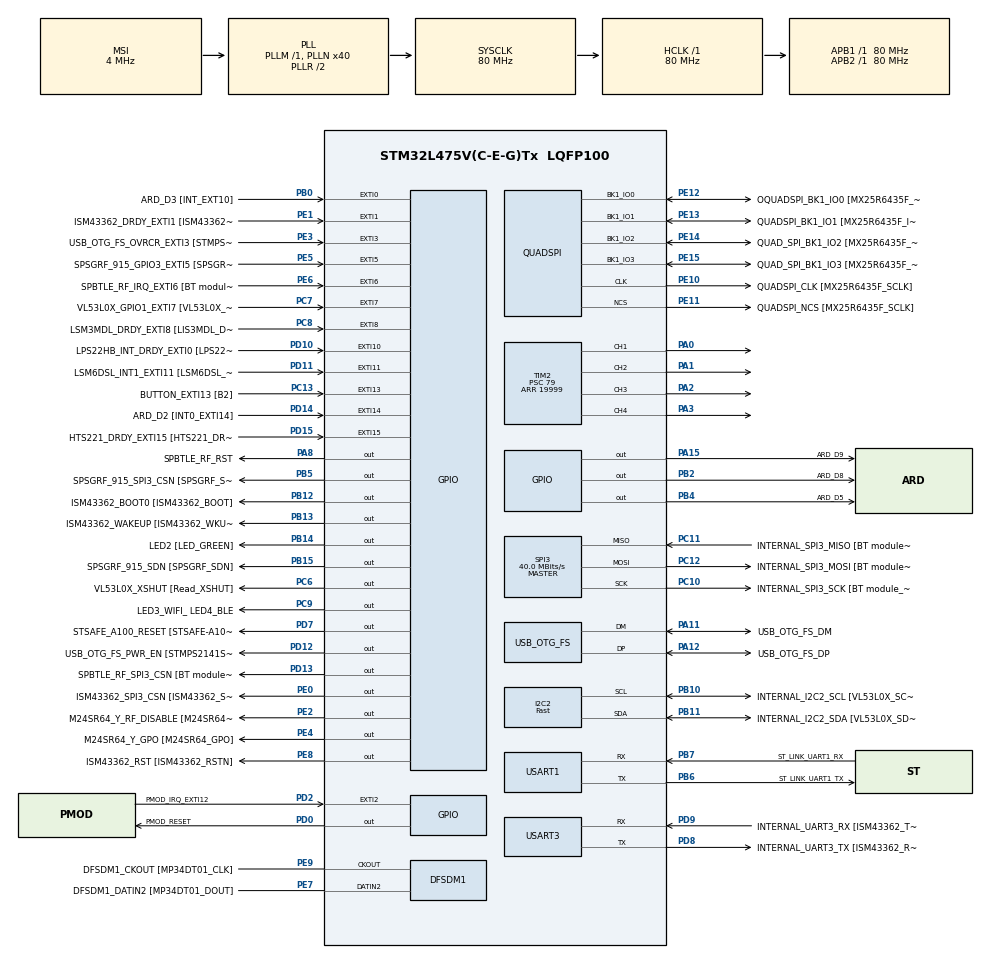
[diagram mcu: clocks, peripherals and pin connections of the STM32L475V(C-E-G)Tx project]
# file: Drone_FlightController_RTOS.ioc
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Dma.I2C2_RX.0.Direction=DMA_PERIPH_TO_MEMORY
Dma.I2C2_RX.0.Instance=DMA1_Channel5
Dma.I2C2_RX.0.MemDataAlignment=DMA_MDATAALIGN_BYTE
Dma.I2C2_RX.0.MemInc=DMA_MINC_ENABLE
Dma.I2C2_RX.0.Mode=DMA_CIRCULAR
Dma.I2C2_RX.0.PeriphDataAlignment=DMA_PDATAALIGN_BYTE
Dma.I2C2_RX.0.PeriphInc=DMA_PINC_DISABLE
Dma.I2C2_RX.0.Priority=DMA_PRIORITY_HIGH
Dma.I2C2_TX.1.Direction=DMA_MEMORY_TO_PERIPH
Dma.I2C2_TX.1.Instance=DMA1_Channel4
Dma.I2C2_TX.1.MemDataAlignment=DMA_MDATAALIGN_BYTE
Dma.I2C2_TX.1.MemInc=DMA_MINC_ENABLE
Dma.I2C2_TX.1.Mode=DMA_NORMAL
Dma.I2C2_TX.1.PeriphDataAlignment=DMA_PDATAALIGN_BYTE
Dma.I2C2_TX.1.PeriphInc=DMA_PINC_DISABLE
Dma.I2C2_TX.1.Priority=DMA_PRIORITY_LOW
Dma.Request0=I2C2_RX
Dma.Request1=I2C2_TX
Dma.Request2=USART1_TX
Dma.USART1_TX.2.Direction=DMA_MEMORY_TO_PERIPH
Dma.USART1_TX.2.Instance=DMA2_Channel6
Dma.USART1_TX.2.MemDataAlignment=DMA_MDATAALIGN_BYTE
Dma.USART1_TX.2.MemInc=DMA_MINC_ENABLE
Dma.USART1_TX.2.Mode=DMA_NORMAL
Dma.USART1_TX.2.PeriphDataAlignment=DMA_PDATAALIGN_BYTE
Dma.USART1_TX.2.PeriphInc=DMA_PINC_DISABLE
Dma.USART1_TX.2.Priority=DMA_PRIORITY_LOW
FREERTOS.Queues01=IMU_Data_Queue,5,IMU_Data_t,0,Dynamic,NULL,NULL;Control_Cmd_Queue,3,Control_Cmd_t,0,Dynamic,NULL,NULL;Baro_Data_Queue,5,Baro_Data_t,0,Dynamic,NULL,NULL
FREERTOS.Tasks01=IMU_Task,40,512,StartIMUTask,Default,NULL,Dynamic,NULL,NULL;Cmd_Task,8,256,StartCmdTask,Default,NULL,Dynamic,NULL,NULL;Telem_Task,16,256,StartTelemTask,Default,NULL,Dynamic,NULL,NULL;BaroTask,8,256,StartBaroTask,Default,NULL,Dynamic,NULL,NULL
FREERTOS.configTOTAL_HEAP_SIZE=20480
I2C2.I2C_Speed_Mode=I2C_Fast
I2C2.Timing=0x00702991
Mcu.Family=STM32L4
Mcu.Name=STM32L475V(C-E-G)Tx
Mcu.Package=LQFP100
NVIC.DMA1_Channel4_IRQn=true\:5\:0\:false\:false\:true\:true\:false\:true\:true
NVIC.DMA1_Channel5_IRQn=true\:5\:0\:false\:false\:true\:true\:false\:true\:true
NVIC.DMA2_Channel6_IRQn=true\:5\:0\:false\:false\:true\:true\:false\:true\:true
NVIC.EXTI15_10_IRQn=true\:5\:0\:false\:false\:true\:true\:true\:true\:true
NVIC.EXTI9_5_IRQn=true\:5\:0\:false\:false\:true\:true\:true\:true\:true
NVIC.I2C2_ER_IRQn=true\:5\:0\:false\:false\:true\:true\:true\:true\:true
NVIC.I2C2_EV_IRQn=true\:5\:0\:false\:false\:true\:true\:true\:true\:true
NVIC.PriorityGroup=NVIC_PRIORITYGROUP_4
NVIC.TIM6_DAC_IRQn=true\:15\:0\:false\:false\:true\:false\:false\:true\:true
NVIC.TimeBase=TIM6_DAC_IRQn
NVIC.TimeBaseIP=TIM6
PA0.Signal=S_TIM2_CH1
PA1.Signal=S_TIM2_CH2
PA10.GPIO_Label=USB_OTG_FS_ID
PA10.Signal=USB_OTG_FS_ID
PA11.GPIO_Label=USB_OTG_FS_DM
PA11.Mode=Device_Only
PA11.Signal=USB_OTG_FS_DM
PA12.GPIO_Label=USB_OTG_FS_DP
PA12.Mode=Device_Only
PA12.Signal=USB_OTG_FS_DP
PA13\ (JTMS-SWDIO).GPIO_Label=SYS_JTMS_SWDIO
PA13\ (JTMS-SWDIO).Mode=Serial_Wire
PA13\ (JTMS-SWDIO).Signal=SYS_JTMS-SWDIO
PA14\ (JTCK-SWCLK).GPIO_Label=SYS_JTCK_SWCLK
PA14\ (JTCK-SWCLK).Mode=Serial_Wire
PA14\ (JTCK-SWCLK).Signal=SYS_JTCK-SWCLK
PA15\ (JTDI).GPIO_Label=ARD_D9
PA15\ (JTDI).Signal=GPIO_Output
PA2.Signal=S_TIM2_CH3
PA3.Signal=S_TIM2_CH4
PA4.GPIO_Label=ARD_D7
PA4.Signal=ADCx_IN9
PA5.GPIO_Label=ARD_D13 [SPI1_SCK]
PA5.Signal=SPI1_SCK
PA6.GPIO_Label=ARD_D12 [SPI1_MISO]
PA6.Signal=SPI1_MISO
PA7.GPIO_Label=ARD_D11 [SPI1_MOSI]
PA7.Signal=SPI1_MOSI
PA8.GPIO_Label=SPBTLE_RF_RST
PA8.Signal=GPIO_Output
PA9.GPIO_Label=USB_OTG_FS_VBUS [STMPS2141STR_OUT]
PA9.Signal=USB_OTG_FS_VBUS
PB0.GPIO_Label=ARD_D3 [INT_EXT10]
PB0.Signal=GPXTI0
PB1.GPIO_Label=ARD_D6 [ADC1_IN6]
PB1.Signal=ADCx_IN16
PB10.GPIO_Label=INTERNAL_I2C2_SCL [VL53L0X_SCL]
PB10.GPIO_Pu=GPIO_PULLUP
PB10.Mode=I2C
PB10.Signal=I2C2_SCL
PB11.GPIO_Label=INTERNAL_I2C2_SDA [VL53L0X_SDA]
PB11.GPIO_Pu=GPIO_PULLUP
PB11.Mode=I2C
PB11.Signal=I2C2_SDA
PB12.GPIO_Label=ISM43362_BOOT0 [ISM43362_BOOT]
PB12.Signal=GPIO_Output
PB13.GPIO_Label=ISM43362_WAKEUP [ISM43362_WKUP]
PB13.Signal=GPIO_Output
PB14.GPIO_Label=LED2 [LED_GREEN]
PB14.Signal=GPIO_Output
PB15.GPIO_Label=SPSGRF_915_SDN [SPSGRF_SDN]
PB15.Signal=GPIO_Output
PB2.GPIO_Label=ARD_D8
PB2.Signal=GPIO_Output
PB3\ (JTDO-TRACESWO).GPIO_Label=SYS_JTD0_SWO
PB3\ (JTDO-TRACESWO).Signal=SYS_JTDO-SWO
PB4\ (NJTRST).GPIO_Label=ARD_D5
PB4\ (NJTRST).Signal=GPIO_Output
PB5.GPIO_Label=SPSGRF_915_SPI3_CSN [SPSGRF_SPI_CS]
PB5.PinState=GPIO_PIN_SET
PB5.Signal=GPIO_Output
PB6.GPIO_Label=ST_LINK_UART1_TX
PB6.Mode=Asynchronous
PB6.Signal=USART1_TX
PB7.GPIO_Label=ST_LINK_UART1_RX
PB7.Mode=Asynchronous
PB7.Signal=USART1_RX
PB8.GPIO_Label=ARD_D15 [I2C1_SCL]
PB8.Signal=I2C1_SCL
PB9.GPIO_Label=ARD_D14 [I2C1_SDA]
PB9.Signal=I2C1_SDA
PC0.GPIO_Label=ARD_A5 [ADC]
PC0.Signal=ADCx_IN1
PC1.GPIO_Label=ARD_A4 [ADC]
PC1.Signal=ADCx_IN2
PC10.GPIO_Label=INTERNAL_SPI3_SCK [BT module_SPI_SCLK] [ISM43362_SCK]
PC10.Mode=Full_Duplex_Master
PC10.Signal=SPI3_SCK
PC11.GPIO_Label=INTERNAL_SPI3_MISO [BT module_SPI_MISO] [ISM43362_MISO]
PC11.Mode=Full_Duplex_Master
PC11.Signal=SPI3_MISO
PC12.GPIO_Label=INTERNAL_SPI3_MOSI [BT module_SPI_MOSI] [ISM43362_MOSI]
PC12.Mode=Full_Duplex_Master
PC12.Signal=SPI3_MOSI
PC13.GPIO_Label=BUTTON_EXTI13 [B2]
PC13.GPIO_ModeDefaultEXTI=GPIO_MODE_IT_FALLING
PC13.Signal=GPXTI13
PC14-OSC32_IN\ (PC14).Mode=LSE-External-Oscillator
PC14-OSC32_IN\ (PC14).Signal=RCC_OSC32_IN
PC15-OSC32_OUT\ (PC15).Mode=LSE-External-Oscillator
PC15-OSC32_OUT\ (PC15).Signal=RCC_OSC32_OUT
PC2.GPIO_Label=ARD_A3 [ADC]
PC2.Signal=ADCx_IN3
PC3.GPIO_Label=ARD_A2 [ADC]
PC3.Signal=ADCx_IN4
PC4.GPIO_Label=ARD_A1 [ADC]
PC4.Signal=ADCx_IN13
PC5.GPIO_Label=ARD_A0 [ADC]
PC5.Signal=ADCx_IN14
PC6.GPIO_Label=VL53L0X_XSHUT [Read_XSHUT]
PC6.Signal=GPIO_Output
PC7.GPIO_Label=VL53L0X_GPIO1_EXTI7 [VL53L0X_GPIO1]
PC7.Signal=GPXTI7
PC8.GPIO_Label=LSM3MDL_DRDY_EXTI8 [LIS3MDL_DRDY]
PC8.Signal=GPXTI8
PC9.GPIO_Label=LED3_WIFI_ LED4_BLE
PC9.Signal=GPIO_Output
PD0.GPIO_Label=PMOD_RESET
PD0.Signal=GPIO_Output
PD1.GPIO_Label=PMOD_SPI2_SCK
PD1.Signal=SPI2_SCK
PD10.GPIO_Label=LPS22HB_INT_DRDY_EXTI0 [LPS22HB_INT_DRDY] 
PD10.Signal=GPXTI10
PD11.GPIO_Label=LSM6DSL_INT1_EXTI11 [LSM6DSL_INT1]
PD11.Signal=GPXTI11
PD12.GPIO_Label=USB_OTG_FS_PWR_EN [STMPS2141STR_EN]
PD12.Signal=GPIO_Output
PD13.GPIO_Label=SPBTLE_RF_SPI3_CSN [BT module_SPI_CS]
PD13.PinState=GPIO_PIN_SET
PD13.Signal=GPIO_Output
PD14.GPIO_Label=ARD_D2 [INT0_EXTI14]
PD14.Signal=GPXTI14
PD15.GPIO_Label=HTS221_DRDY_EXTI15 [HTS221_DRDY]
PD15.Signal=GPXTI15
PD2.GPIO_Label=PMOD_IRQ_EXTI12
PD2.Signal=GPXTI2
PD3.GPIO_Label=PMOD_UART2_CTS
PD3.Signal=USART2_CTS
PD4.GPIO_Label=PMOD_UART2_RTS
PD4.Signal=USART2_RTS
PD5.GPIO_Label=PMOD_UART2_TX
PD5.Signal=USART2_TX
PD6.GPIO_Label=PMOD_UART2_RX
PD6.Signal=USART2_RX
PD7.GPIO_Label=STSAFE_A100_RESET [STSAFE-A100_RESET]
PD7.Signal=GPIO_Output
PD8.GPIO_Label=INTERNAL_UART3_TX [ISM43362_RX]
PD8.Mode=Asynchronous
PD8.Signal=USART3_TX
PD9.GPIO_Label=INTERNAL_UART3_RX [ISM43362_TX]
PD9.Mode=Asynchronous
PD9.Signal=USART3_RX
PE0.GPIO_Label=ISM43362_SPI3_CSN [ISM43362_SSN]
PE0.PinState=GPIO_PIN_SET
PE0.Signal=GPIO_Output
PE1.GPIO_Label=ISM43362_DRDY_EXTI1 [ISM43362_DATARDY]
PE1.Signal=GPXTI1
PE10.GPIO_Label=QUADSPI_CLK [MX25R6435F_SCLK]
PE10.Mode=Single Bank
PE10.Signal=QUADSPI_CLK
PE11.GPIO_Label=QUADSPI_NCS [MX25R6435F_SCLK]
PE11.Mode=Single Bank
PE11.Signal=QUADSPI_NCS
PE12.GPIO_Label=OQUADSPI_BK1_IO0 [MX25R6435F_IO0]
PE12.Mode=Single Bank
PE12.Signal=QUADSPI_BK1_IO0
PE13.GPIO_Label=QUADSPI_BK1_IO1 [MX25R6435F_IO1]
PE13.Mode=Single Bank
PE13.Signal=QUADSPI_BK1_IO1
PE14.GPIO_Label=QUAD_SPI_BK1_IO2 [MX25R6435F_IO2]
PE14.Mode=Single Bank
PE14.Signal=QUADSPI_BK1_IO2
PE15.GPIO_Label=QUAD_SPI_BK1_IO3 [MX25R6435F_IO3]
PE15.Mode=Single Bank
PE15.Signal=QUADSPI_BK1_IO3
PE2.GPIO_Label=M24SR64_Y_RF_DISABLE [M24SR64_RFDIS]
PE2.Signal=GPIO_Output
PE3.GPIO_Label=USB_OTG_FS_OVRCR_EXTI3 [STMPS2141STR_FAULT]
PE3.Signal=GPXTI3
PE4.GPIO_Label=M24SR64_Y_GPO [M24SR64_GPO]
PE4.Signal=GPIO_Output
PE5.GPIO_Label=SPSGRF_915_GPIO3_EXTI5 [SPSGRF_GPIO_3]
PE5.Signal=GPXTI5
PE6.GPIO_Label=SPBTLE_RF_IRQ_EXTI6 [BT module_SPI_IRQ]
PE6.Signal=GPXTI6
PE7.GPIO_Label=DFSDM1_DATIN2 [MP34DT01_DOUT]
PE7.Signal=S_DATAIN2DFSDM1
PE8.GPIO_Label=ISM43362_RST [ISM43362_RSTN]
PE8.Signal=GPIO_Output
PE9.GPIO_Label=DFSDM1_CKOUT [MP34DT01_CLK]
PE9.Signal=S_CKOUTDFSDM1
ProjectManager.HeapSize=0x200
ProjectManager.StackSize=0x400
ProjectManager.TargetToolchain=STM32CubeIDE
QUADSPI.ClockPrescaler=2
QUADSPI.FifoThreshold=4
QUADSPI.FlashSize=23
QUADSPI.SampleShifting=QSPI_SAMPLE_SHIFTING_HALFCYCLE
RCC.ADCFreq_Value=48000000
RCC.AHBFreq_Value=80000000
RCC.APB1Freq_Value=80000000
RCC.APB1TimFreq_Value=80000000
RCC.APB2Freq_Value=80000000
RCC.APB2TimFreq_Value=80000000
RCC.CortexFreq_Value=80000000
RCC.HCLKFreq_Value=80000000
RCC.HSE_VALUE=8000000
RCC.HSI_VALUE=16000000
RCC.MSI_VALUE=4000000
RCC.PLLN=40
RCC.PLLSAI1N=24
RCC.SYSCLKFreq_VALUE=80000000
RCC.SYSCLKSource=RCC_SYSCLKSOURCE_PLLCLK
RCC.USBFreq_Value=48000000
RCC.VCOOutputFreq_Value=160000000
SH.ADCx_IN1.0=ADC1_IN1
SH.ADCx_IN13.0=ADC1_IN13
SH.ADCx_IN14.0=ADC1_IN14
SH.ADCx_IN16.0=ADC1_IN16
SH.ADCx_IN2.0=ADC1_IN2
SH.ADCx_IN3.0=ADC1_IN3
SH.ADCx_IN4.0=ADC1_IN4
SH.ADCx_IN9.0=ADC1_IN9
SH.S_CKOUTDFSDM1.0=DFSDM1_CKOUT,CKOUT
SH.S_CKOUTDFSDM1.1=DFSDM1_CKOUT,PDM_SPI_Input_from_ch12_and_Internal_Clock
SH.S_DATAIN2DFSDM1.0=DFSDM1_DATIN2,PDM_SPI_Input_from_ch12_and_Internal_Clock
SH.S_TIM2_CH1.0=TIM2_CH1,PWM Generation1 CH1
SH.S_TIM2_CH2.0=TIM2_CH2,PWM Generation2 CH2
SH.S_TIM2_CH3.0=TIM2_CH3,PWM Generation3 CH3
SH.S_TIM2_CH4.0=TIM2_CH4,PWM Generation4 CH4
SPI3.CalculateBaudRate=40.0 MBits/s
SPI3.Direction=SPI_DIRECTION_2LINES
SPI3.Mode=SPI_MODE_MASTER
SPI3.VirtualType=VM_MASTER
TIM2.AutoReloadPreload=TIM_AUTORELOAD_PRELOAD_ENABLE
TIM2.Channel-PWM\ Generation1\ CH1=TIM_CHANNEL_1
TIM2.Channel-PWM\ Generation2\ CH2=TIM_CHANNEL_2
TIM2.Channel-PWM\ Generation3\ CH3=TIM_CHANNEL_3
TIM2.Channel-PWM\ Generation4\ CH4=TIM_CHANNEL_4
TIM2.Period=19999
TIM2.Prescaler=79
USART1.VirtualMode-Asynchronous=VM_ASYNC
USART3.VirtualMode-Asynchronous=VM_ASYNC
USB_OTG_FS.VirtualMode=Device_Only
VP_FREERTOS_VS_CMSIS_V2.Mode=CMSIS_V2
VP_SYS_VS_tim6.Mode=TIM6
VP_TIM2_VS_ClockSourceINT.Mode=Internal
board=B-L475E-IOT01A2

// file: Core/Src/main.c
/* USER CODE BEGIN Header */
/**
  ******************************************************************************
  * @file           : main.c
  * @brief          : Main program body
  ******************************************************************************
  * @attention
  *
  * Copyright (c) 2026 STMicroelectronics.
  * All rights reserved.
  *
  * This software is licensed under terms that can be found in the LICENSE file
  * in the root directory of this software component.
  * If no LICENSE file comes with this software, it is provided AS-IS.
  *
  ******************************************************************************
  */
/* USER CODE END Header */
#include "main.h"
#include "cmsis_os.h"

/* USER CODE BEGIN Includes */
#include "imu_service.h"
#include "baro_service.h"
#include "motor_mixer.h"
#include "pid_controller.h"
/* USER CODE END Includes */

DFSDM_Channel_HandleTypeDef hdfsdm1_channel1;

I2C_HandleTypeDef hi2c2;
DMA_HandleTypeDef hdma_i2c2_rx;
DMA_HandleTypeDef hdma_i2c2_tx;

QSPI_HandleTypeDef hqspi;

SPI_HandleTypeDef hspi3;

TIM_HandleTypeDef htim2;

UART_HandleTypeDef huart1;
UART_HandleTypeDef huart3;
DMA_HandleTypeDef hdma_usart1_tx;

PCD_HandleTypeDef hpcd_USB_OTG_FS;

/* Definitions for IMU_Task */
osThreadId_t IMU_TaskHandle;
const osThreadAttr_t IMU_Task_attributes = {
  .name = "IMU_Task",
  .stack_size = 512 * 4,
  .priority = (osPriority_t) osPriorityHigh,
};
/* Definitions for Cmd_Task */
osThreadId_t Cmd_TaskHandle;
const osThreadAttr_t Cmd_Task_attributes = {
  .name = "Cmd_Task",
  .stack_size = 256 * 4,
  .priority = (osPriority_t) osPriorityLow,
};
/* Definitions for Telem_Task */
osThreadId_t Telem_TaskHandle;
const osThreadAttr_t Telem_Task_attributes = {
  .name = "Telem_Task",
  .stack_size = 256 * 4,
  .priority = (osPriority_t) osPriorityBelowNormal,
};
/* Definitions for BaroTask */
osThreadId_t BaroTaskHandle;
const osThreadAttr_t BaroTask_attributes = {
  .name = "BaroTask",
  .stack_size = 256 * 4,
  .priority = (osPriority_t) osPriorityLow,
};
/* Definitions for IMU_Data_Queue */
osMessageQueueId_t IMU_Data_QueueHandle;
const osMessageQueueAttr_t IMU_Data_Queue_attributes = {
  .name = "IMU_Data_Queue"
};
/* Definitions for Control_Cmd_Queue */
osMessageQueueId_t Control_Cmd_QueueHandle;
const osMessageQueueAttr_t Control_Cmd_Queue_attributes = {
  .name = "Control_Cmd_Queue"
};
/* Definitions for Baro_Data_Queue */
osMessageQueueId_t Baro_Data_QueueHandle;
const osMessageQueueAttr_t Baro_Data_Queue_attributes = {
  .name = "Baro_Data_Queue"
};
/* USER CODE BEGIN PV */
IMU_Data_t flight_data;
Baro_Data_t baro_data;

// Instancias de los PID
PID_Instance_t pid_pitch;
PID_Instance_t pid_roll;

// Variables de control (los nombres que acordamos)
float pitch_output = 0.0f;
float roll_output = 0.0f;
float yaw_output = 0.0f;     // Por ahora en 0
float throttle_cmd = 1150.0f; // Potencia base de prueba
/* USER CODE END PV */

void SystemClock_Config(void);
static void MX_GPIO_Init(void);
static void MX_DMA_Init(void);
static void MX_DFSDM1_Init(void);
static void MX_I2C2_Init(void);
static void MX_QUADSPI_Init(void);
static void MX_SPI3_Init(void);
static void MX_USART1_UART_Init(void);
static void MX_USART3_UART_Init(void);
static void MX_USB_OTG_FS_PCD_Init(void);
static void MX_TIM2_Init(void);
void StartIMUTask(void *argument);
void StartCmdTask(void *argument);
void StartTelemTask(void *argument);
void StartBaroTask(void *argument);

int main(void)
{

  /* MCU Configuration--------------------------------------------------------*/

  /* Reset of all peripherals, Initializes the Flash interface and the Systick. */
  HAL_Init();

  /* Configure the system clock */
  SystemClock_Config();

  /* Initialize all configured peripherals */
  MX_GPIO_Init();
  MX_DMA_Init();
  MX_DFSDM1_Init();
  MX_I2C2_Init();
  MX_QUADSPI_Init();
  MX_SPI3_Init();
  MX_USART1_UART_Init();
  MX_USART3_UART_Init();
  MX_USB_OTG_FS_PCD_Init();
  MX_TIM2_Init();
  /* USER CODE BEGIN 2 */
  // 1. Iniciar Sensores
  IMU_Init_Service(&hi2c2);
  // Baro
  Baro_Init(&hi2c2);

  // 2. Iniciar PID (P, I, D, Salida_Min, Salida_Max)
  PID_Init(&pid_pitch, 1.5f, 0.05f, 0.1f, -400.0f, 400.0f);
  PID_Init(&pid_roll,  1.5f, 0.05f, 0.1f, -400.0f, 400.0f);

  // 3. Iniciar Motores
  Mixer_Init(&htim2);
  HAL_TIM_PWM_Start(&htim2, TIM_CHANNEL_1);
  HAL_TIM_PWM_Start(&htim2, TIM_CHANNEL_2);
  HAL_TIM_PWM_Start(&htim2, TIM_CHANNEL_3);
  HAL_TIM_PWM_Start(&htim2, TIM_CHANNEL_4);
  /* USER CODE END 2 */

  /* Init scheduler */
  osKernelInitialize();

  /* Create the queue(s) */
  /* creation of IMU_Data_Queue */
  IMU_Data_QueueHandle = osMessageQueueNew (5, sizeof(IMU_Data_t), &IMU_Data_Queue_attributes);

  /* creation of Control_Cmd_Queue */
  Control_Cmd_QueueHandle = osMessageQueueNew (3, sizeof(Control_Cmd_t), &Control_Cmd_Queue_attributes);

  /* creation of Baro_Data_Queue */
  Baro_Data_QueueHandle = osMessageQueueNew (5, sizeof(Baro_Data_t), &Baro_Data_Queue_attributes);

  /* Create the thread(s) */
  /* creation of IMU_Task */
  IMU_TaskHandle = osThreadNew(StartIMUTask, NULL, &IMU_Task_attributes);

  /* creation of Cmd_Task */
  Cmd_TaskHandle = osThreadNew(StartCmdTask, NULL, &Cmd_Task_attributes);

  /* creation of Telem_Task */
  Telem_TaskHandle = osThreadNew(StartTelemTask, NULL, &Telem_Task_attributes);

  /* creation of BaroTask */
  BaroTaskHandle = osThreadNew(StartBaroTask, NULL, &BaroTask_attributes);

  /* Start scheduler */
  osKernelStart();

  /* We should never get here as control is now taken by the scheduler */
  /* Infinite loop */
  while (1)
  {

  }
}

void SystemClock_Config(void)
{
  RCC_OscInitTypeDef RCC_OscInitStruct = {0};
  RCC_ClkInitTypeDef RCC_ClkInitStruct = {0};

  /** Configure the main internal regulator output voltage
  */
  if (HAL_PWREx_ControlVoltageScaling(PWR_REGULATOR_VOLTAGE_SCALE1) != HAL_OK)
  {
    Error_Handler();
  }

  /** Configure LSE Drive Capability
  */
  HAL_PWR_EnableBkUpAccess();
  __HAL_RCC_LSEDRIVE_CONFIG(RCC_LSEDRIVE_LOW);

  /** Initializes the RCC Oscillators according to the specified parameters
  * in the RCC_OscInitTypeDef structure.
  */
  RCC_OscInitStruct.OscillatorType = RCC_OSCILLATORTYPE_LSE|RCC_OSCILLATORTYPE_MSI;
  RCC_OscInitStruct.LSEState = RCC_LSE_ON;
  RCC_OscInitStruct.MSIState = RCC_MSI_ON;
  RCC_OscInitStruct.MSICalibrationValue = 0;
  RCC_OscInitStruct.MSIClockRange = RCC_MSIRANGE_6;
  RCC_OscInitStruct.PLL.PLLState = RCC_PLL_ON;
  RCC_OscInitStruct.PLL.PLLSource = RCC_PLLSOURCE_MSI;
  RCC_OscInitStruct.PLL.PLLM = 1;
  RCC_OscInitStruct.PLL.PLLN = 40;
  RCC_OscInitStruct.PLL.PLLP = RCC_PLLP_DIV7;
  RCC_OscInitStruct.PLL.PLLQ = RCC_PLLQ_DIV2;
  RCC_OscInitStruct.PLL.PLLR = RCC_PLLR_DIV2;
  if (HAL_RCC_OscConfig(&RCC_OscInitStruct) != HAL_OK)
  {
    Error_Handler();
  }

  /** Initializes the CPU, AHB and APB buses clocks
  */
  RCC_ClkInitStruct.ClockType = RCC_CLOCKTYPE_HCLK|RCC_CLOCKTYPE_SYSCLK
                              |RCC_CLOCKTYPE_PCLK1|RCC_CLOCKTYPE_PCLK2;
  RCC_ClkInitStruct.SYSCLKSource = RCC_SYSCLKSOURCE_PLLCLK;
  RCC_ClkInitStruct.AHBCLKDivider = RCC_SYSCLK_DIV1;
  RCC_ClkInitStruct.APB1CLKDivider = RCC_HCLK_DIV1;
  RCC_ClkInitStruct.APB2CLKDivider = RCC_HCLK_DIV1;

  if (HAL_RCC_ClockConfig(&RCC_ClkInitStruct, FLASH_LATENCY_4) != HAL_OK)
  {
    Error_Handler();
  }

  /** Enable MSI Auto calibration
  */
  HAL_RCCEx_EnableMSIPLLMode();
}

static void MX_DFSDM1_Init(void)
{

  hdfsdm1_channel1.Instance = DFSDM1_Channel1;
  hdfsdm1_channel1.Init.OutputClock.Activation = ENABLE;
  hdfsdm1_channel1.Init.OutputClock.Selection = DFSDM_CHANNEL_OUTPUT_CLOCK_SYSTEM;
  hdfsdm1_channel1.Init.OutputClock.Divider = 2;
  hdfsdm1_channel1.Init.Input.Multiplexer = DFSDM_CHANNEL_EXTERNAL_INPUTS;
  hdfsdm1_channel1.Init.Input.DataPacking = DFSDM_CHANNEL_STANDARD_MODE;
  hdfsdm1_channel1.Init.Input.Pins = DFSDM_CHANNEL_FOLLOWING_CHANNEL_PINS;
  hdfsdm1_channel1.Init.SerialInterface.Type = DFSDM_CHANNEL_SPI_RISING;
  hdfsdm1_channel1.Init.SerialInterface.SpiClock = DFSDM_CHANNEL_SPI_CLOCK_INTERNAL;
  hdfsdm1_channel1.Init.Awd.FilterOrder = DFSDM_CHANNEL_FASTSINC_ORDER;
  hdfsdm1_channel1.Init.Awd.Oversampling = 1;
  hdfsdm1_channel1.Init.Offset = 0;
  hdfsdm1_channel1.Init.RightBitShift = 0x00;
  if (HAL_DFSDM_ChannelInit(&hdfsdm1_channel1) != HAL_OK)
  {
    Error_Handler();
  }

}

static void MX_I2C2_Init(void)
{

  hi2c2.Instance = I2C2;
  hi2c2.Init.Timing = 0x00702991;
  hi2c2.Init.OwnAddress1 = 0;
  hi2c2.Init.AddressingMode = I2C_ADDRESSINGMODE_7BIT;
  hi2c2.Init.DualAddressMode = I2C_DUALADDRESS_DISABLE;
  hi2c2.Init.OwnAddress2 = 0;
  hi2c2.Init.OwnAddress2Masks = I2C_OA2_NOMASK;
  hi2c2.Init.GeneralCallMode = I2C_GENERALCALL_DISABLE;
  hi2c2.Init.NoStretchMode = I2C_NOSTRETCH_DISABLE;
  if (HAL_I2C_Init(&hi2c2) != HAL_OK)
  {
    Error_Handler();
  }

  /** Configure Analogue filter
  */
  if (HAL_I2CEx_ConfigAnalogFilter(&hi2c2, I2C_ANALOGFILTER_ENABLE) != HAL_OK)
  {
    Error_Handler();
  }

  /** Configure Digital filter
  */
  if (HAL_I2CEx_ConfigDigitalFilter(&hi2c2, 0) != HAL_OK)
  {
    Error_Handler();
  }

}

static void MX_QUADSPI_Init(void)
{

  /* QUADSPI parameter configuration*/
  hqspi.Instance = QUADSPI;
  hqspi.Init.ClockPrescaler = 2;
  hqspi.Init.FifoThreshold = 4;
  hqspi.Init.SampleShifting = QSPI_SAMPLE_SHIFTING_HALFCYCLE;
  hqspi.Init.FlashSize = 23;
  hqspi.Init.ChipSelectHighTime = QSPI_CS_HIGH_TIME_1_CYCLE;
  hqspi.Init.ClockMode = QSPI_CLOCK_MODE_0;
  if (HAL_QSPI_Init(&hqspi) != HAL_OK)
  {
    Error_Handler();
  }

}

static void MX_SPI3_Init(void)
{

  /* SPI3 parameter configuration*/
  hspi3.Instance = SPI3;
  hspi3.Init.Mode = SPI_MODE_MASTER;
  hspi3.Init.Direction = SPI_DIRECTION_2LINES;
  hspi3.Init.DataSize = SPI_DATASIZE_4BIT;
  hspi3.Init.CLKPolarity = SPI_POLARITY_LOW;
  hspi3.Init.CLKPhase = SPI_PHASE_1EDGE;
  hspi3.Init.NSS = SPI_NSS_SOFT;
  hspi3.Init.BaudRatePrescaler = SPI_BAUDRATEPRESCALER_2;
  hspi3.Init.FirstBit = SPI_FIRSTBIT_MSB;
  hspi3.Init.TIMode = SPI_TIMODE_DISABLE;
  hspi3.Init.CRCCalculation = SPI_CRCCALCULATION_DISABLE;
  hspi3.Init.CRCPolynomial = 7;
  hspi3.Init.CRCLength = SPI_CRC_LENGTH_DATASIZE;
  hspi3.Init.NSSPMode = SPI_NSS_PULSE_ENABLE;
  if (HAL_SPI_Init(&hspi3) != HAL_OK)
  {
    Error_Handler();
  }

}

static void MX_TIM2_Init(void)
{

  TIM_ClockConfigTypeDef sClockSourceConfig = {0};
  TIM_MasterConfigTypeDef sMasterConfig = {0};
  TIM_OC_InitTypeDef sConfigOC = {0};

  htim2.Instance = TIM2;
  htim2.Init.Prescaler = 79;
  htim2.Init.CounterMode = TIM_COUNTERMODE_UP;
  htim2.Init.Period = 19999;
  htim2.Init.ClockDivision = TIM_CLOCKDIVISION_DIV1;
  htim2.Init.AutoReloadPreload = TIM_AUTORELOAD_PRELOAD_ENABLE;
  if (HAL_TIM_Base_Init(&htim2) != HAL_OK)
  {
    Error_Handler();
  }
  sClockSourceConfig.ClockSource = TIM_CLOCKSOURCE_INTERNAL;
  if (HAL_TIM_ConfigClockSource(&htim2, &sClockSourceConfig) != HAL_OK)
  {
    Error_Handler();
  }
  if (HAL_TIM_PWM_Init(&htim2) != HAL_OK)
  {
    Error_Handler();
  }
  sMasterConfig.MasterOutputTrigger = TIM_TRGO_RESET;
  sMasterConfig.MasterSlaveMode = TIM_MASTERSLAVEMODE_DISABLE;
  if (HAL_TIMEx_MasterConfigSynchronization(&htim2, &sMasterConfig) != HAL_OK)
  {
    Error_Handler();
  }
  sConfigOC.OCMode = TIM_OCMODE_PWM1;
  sConfigOC.Pulse = 0;
  sConfigOC.OCPolarity = TIM_OCPOLARITY_HIGH;
  sConfigOC.OCFastMode = TIM_OCFAST_DISABLE;
  if (HAL_TIM_PWM_ConfigChannel(&htim2, &sConfigOC, TIM_CHANNEL_1) != HAL_OK)
  {
    Error_Handler();
  }
  if (HAL_TIM_PWM_ConfigChannel(&htim2, &sConfigOC, TIM_CHANNEL_2) != HAL_OK)
  {
    Error_Handler();
  }
  if (HAL_TIM_PWM_ConfigChannel(&htim2, &sConfigOC, TIM_CHANNEL_3) != HAL_OK)
  {
    Error_Handler();
  }
  if (HAL_TIM_PWM_ConfigChannel(&htim2, &sConfigOC, TIM_CHANNEL_4) != HAL_OK)
  {
    Error_Handler();
  }
  HAL_TIM_MspPostInit(&htim2);

}

static void MX_USART1_UART_Init(void)
{

  huart1.Instance = USART1;
  huart1.Init.BaudRate = 115200;
  huart1.Init.WordLength = UART_WORDLENGTH_8B;
  huart1.Init.StopBits = UART_STOPBITS_1;
  huart1.Init.Parity = UART_PARITY_NONE;
  huart1.Init.Mode = UART_MODE_TX_RX;
  huart1.Init.HwFlowCtl = UART_HWCONTROL_NONE;
  huart1.Init.OverSampling = UART_OVERSAMPLING_16;
  huart1.Init.OneBitSampling = UART_ONE_BIT_SAMPLE_DISABLE;
  huart1.AdvancedInit.AdvFeatureInit = UART_ADVFEATURE_NO_INIT;
  if (HAL_UART_Init(&huart1) != HAL_OK)
  {
    Error_Handler();
  }

}

static void MX_USART3_UART_Init(void)
{

  huart3.Instance = USART3;
  huart3.Init.BaudRate = 115200;
  huart3.Init.WordLength = UART_WORDLENGTH_8B;
  huart3.Init.StopBits = UART_STOPBITS_1;
  huart3.Init.Parity = UART_PARITY_NONE;
  huart3.Init.Mode = UART_MODE_TX_RX;
  huart3.Init.HwFlowCtl = UART_HWCONTROL_NONE;
  huart3.Init.OverSampling = UART_OVERSAMPLING_16;
  huart3.Init.OneBitSampling = UART_ONE_BIT_SAMPLE_DISABLE;
  huart3.AdvancedInit.AdvFeatureInit = UART_ADVFEATURE_NO_INIT;
  if (HAL_UART_Init(&huart3) != HAL_OK)
  {
    Error_Handler();
  }

}

static void MX_USB_OTG_FS_PCD_Init(void)
{

  hpcd_USB_OTG_FS.Instance = USB_OTG_FS;
  hpcd_USB_OTG_FS.Init.dev_endpoints = 6;
  hpcd_USB_OTG_FS.Init.speed = PCD_SPEED_FULL;
  hpcd_USB_OTG_FS.Init.phy_itface = PCD_PHY_EMBEDDED;
  hpcd_USB_OTG_FS.Init.Sof_enable = DISABLE;
  hpcd_USB_OTG_FS.Init.low_power_enable = DISABLE;
  hpcd_USB_OTG_FS.Init.lpm_enable = DISABLE;
  hpcd_USB_OTG_FS.Init.battery_charging_enable = DISABLE;
  hpcd_USB_OTG_FS.Init.use_dedicated_ep1 = DISABLE;
  hpcd_USB_OTG_FS.Init.vbus_sensing_enable = DISABLE;
  if (HAL_PCD_Init(&hpcd_USB_OTG_FS) != HAL_OK)
  {
    Error_Handler();
  }

}

static void MX_DMA_Init(void)
{

  /* DMA controller clock enable */
  __HAL_RCC_DMA1_CLK_ENABLE();
  __HAL_RCC_DMA2_CLK_ENABLE();

  /* DMA interrupt init */
  /* DMA1_Channel4_IRQn interrupt configuration */
  HAL_NVIC_SetPriority(DMA1_Channel4_IRQn, 5, 0);
  HAL_NVIC_EnableIRQ(DMA1_Channel4_IRQn);
  /* DMA1_Channel5_IRQn interrupt configuration */
  HAL_NVIC_SetPriority(DMA1_Channel5_IRQn, 5, 0);
  HAL_NVIC_EnableIRQ(DMA1_Channel5_IRQn);
  /* DMA2_Channel6_IRQn interrupt configuration */
  HAL_NVIC_SetPriority(DMA2_Channel6_IRQn, 5, 0);
  HAL_NVIC_EnableIRQ(DMA2_Channel6_IRQn);

}

static void MX_GPIO_Init(void)
{
  GPIO_InitTypeDef GPIO_InitStruct = {0};

  /* GPIO Ports Clock Enable */
  __HAL_RCC_GPIOE_CLK_ENABLE();
  __HAL_RCC_GPIOC_CLK_ENABLE();
  __HAL_RCC_GPIOA_CLK_ENABLE();
  __HAL_RCC_GPIOB_CLK_ENABLE();
  __HAL_RCC_GPIOD_CLK_ENABLE();

  /*Configure GPIO pin Output Level */
  HAL_GPIO_WritePin(GPIOE, M24SR64_Y_RF_DISABLE_Pin|M24SR64_Y_GPO_Pin|ISM43362_RST_Pin, GPIO_PIN_RESET);

  /*Configure GPIO pin Output Level */
  HAL_GPIO_WritePin(GPIOB, ARD_D8_Pin|ISM43362_BOOT0_Pin|ISM43362_WAKEUP_Pin|LED2_Pin
                          |SPSGRF_915_SDN_Pin|ARD_D5_Pin, GPIO_PIN_RESET);

  /*Configure GPIO pin Output Level */
  HAL_GPIO_WritePin(GPIOD, USB_OTG_FS_PWR_EN_Pin|PMOD_RESET_Pin|STSAFE_A100_RESET_Pin, GPIO_PIN_RESET);

  /*Configure GPIO pin Output Level */
  HAL_GPIO_WritePin(SPBTLE_RF_SPI3_CSN_GPIO_Port, SPBTLE_RF_SPI3_CSN_Pin, GPIO_PIN_SET);

  /*Configure GPIO pin Output Level */
  HAL_GPIO_WritePin(GPIOC, VL53L0X_XSHUT_Pin|LED3_WIFI__LED4_BLE_Pin, GPIO_PIN_RESET);

  /*Configure GPIO pin Output Level */
  HAL_GPIO_WritePin(GPIOA, SPBTLE_RF_RST_Pin|ARD_D9_Pin, GPIO_PIN_RESET);

  /*Configure GPIO pin Output Level */
  HAL_GPIO_WritePin(SPSGRF_915_SPI3_CSN_GPIO_Port, SPSGRF_915_SPI3_CSN_Pin, GPIO_PIN_SET);

  /*Configure GPIO pin Output Level */
  HAL_GPIO_WritePin(ISM43362_SPI3_CSN_GPIO_Port, ISM43362_SPI3_CSN_Pin, GPIO_PIN_SET);

  /*Configure GPIO pins : M24SR64_Y_RF_DISABLE_Pin M24SR64_Y_GPO_Pin ISM43362_RST_Pin ISM43362_SPI3_CSN_Pin */
  GPIO_InitStruct.Pin = M24SR64_Y_RF_DISABLE_Pin|M24SR64_Y_GPO_Pin|ISM43362_RST_Pin|ISM43362_SPI3_CSN_Pin;
  GPIO_InitStruct.Mode = GPIO_MODE_OUTPUT_PP;
  GPIO_InitStruct.Pull = GPIO_NOPULL;
  GPIO_InitStruct.Speed = GPIO_SPEED_FREQ_LOW;
  HAL_GPIO_Init(GPIOE, &GPIO_InitStruct);

  /*Configure GPIO pins : USB_OTG_FS_OVRCR_EXTI3_Pin SPSGRF_915_GPIO3_EXTI5_Pin SPBTLE_RF_IRQ_EXTI6_Pin ISM43362_DRDY_EXTI1_Pin */
  GPIO_InitStruct.Pin = USB_OTG_FS_OVRCR_EXTI3_Pin|SPSGRF_915_GPIO3_EXTI5_Pin|SPBTLE_RF_IRQ_EXTI6_Pin|ISM43362_DRDY_EXTI1_Pin;
  GPIO_InitStruct.Mode = GPIO_MODE_IT_RISING;
  GPIO_InitStruct.Pull = GPIO_NOPULL;
  HAL_GPIO_Init(GPIOE, &GPIO_InitStruct);

  /*Configure GPIO pin : BUTTON_EXTI13_Pin */
  GPIO_InitStruct.Pin = BUTTON_EXTI13_Pin;
  GPIO_InitStruct.Mode = GPIO_MODE_IT_FALLING;
  GPIO_InitStruct.Pull = GPIO_NOPULL;
  HAL_GPIO_Init(BUTTON_EXTI13_GPIO_Port, &GPIO_InitStruct);

  /*Configure GPIO pins : ARD_A5_Pin ARD_A4_Pin ARD_A3_Pin ARD_A2_Pin
                           ARD_A1_Pin ARD_A0_Pin */
  GPIO_InitStruct.Pin = ARD_A5_Pin|ARD_A4_Pin|ARD_A3_Pin|ARD_A2_Pin
                          |ARD_A1_Pin|ARD_A0_Pin;
  GPIO_InitStruct.Mode = GPIO_MODE_ANALOG_ADC_CONTROL;
  GPIO_InitStruct.Pull = GPIO_NOPULL;
  HAL_GPIO_Init(GPIOC, &GPIO_InitStruct);

  /*Configure GPIO pin : ARD_D7_Pin */
  GPIO_InitStruct.Pin = ARD_D7_Pin;
  GPIO_InitStruct.Mode = GPIO_MODE_ANALOG_ADC_CONTROL;
  GPIO_InitStruct.Pull = GPIO_NOPULL;
  HAL_GPIO_Init(ARD_D7_GPIO_Port, &GPIO_InitStruct);

  /*Configure GPIO pins : ARD_D13_Pin ARD_D12_Pin ARD_D11_Pin */
  GPIO_InitStruct.Pin = ARD_D13_Pin|ARD_D12_Pin|ARD_D11_Pin;
  GPIO_InitStruct.Mode = GPIO_MODE_AF_PP;
  GPIO_InitStruct.Pull = GPIO_NOPULL;
  GPIO_InitStruct.Speed = GPIO_SPEED_FREQ_VERY_HIGH;
  GPIO_InitStruct.Alternate = GPIO_AF5_SPI1;
  HAL_GPIO_Init(GPIOA, &GPIO_InitStruct);

  /*Configure GPIO pin : ARD_D3_Pin */
  GPIO_InitStruct.Pin = ARD_D3_Pin;
  GPIO_InitStruct.Mode = GPIO_MODE_IT_RISING;
  GPIO_InitStruct.Pull = GPIO_NOPULL;
  HAL_GPIO_Init(ARD_D3_GPIO_Port, &GPIO_InitStruct);

  /*Configure GPIO pin : ARD_D6_Pin */
  GPIO_InitStruct.Pin = ARD_D6_Pin;
  GPIO_InitStruct.Mode = GPIO_MODE_ANALOG_ADC_CONTROL;
  GPIO_InitStruct.Pull = GPIO_NOPULL;
  HAL_GPIO_Init(ARD_D6_GPIO_Port, &GPIO_InitStruct);

  /*Configure GPIO pins : ARD_D8_Pin ISM43362_BOOT0_Pin ISM43362_WAKEUP_Pin LED2_Pin
                           SPSGRF_915_SDN_Pin ARD_D5_Pin SPSGRF_915_SPI3_CSN_Pin */
  GPIO_InitStruct.Pin = ARD_D8_Pin|ISM43362_BOOT0_Pin|ISM43362_WAKEUP_Pin|LED2_Pin
                          |SPSGRF_915_SDN_Pin|ARD_D5_Pin|SPSGRF_915_SPI3_CSN_Pin;
  GPIO_InitStruct.Mode = GPIO_MODE_OUTPUT_PP;
  GPIO_InitStruct.Pull = GPIO_NOPULL;
  GPIO_InitStruct.Speed = GPIO_SPEED_FREQ_LOW;
  HAL_GPIO_Init(GPIOB, &GPIO_InitStruct);

  /*Configure GPIO pins : LPS22HB_INT_DRDY_EXTI0_Pin LSM6DSL_INT1_EXTI11_Pin ARD_D2_Pin HTS221_DRDY_EXTI15_Pin
                           PMOD_IRQ_EXTI12_Pin */
  GPIO_InitStruct.Pin = LPS22HB_INT_DRDY_EXTI0_Pin|LSM6DSL_INT1_EXTI11_Pin|ARD_D2_Pin|HTS221_DRDY_EXTI15_Pin
                          |PMOD_IRQ_EXTI12_Pin;
  GPIO_InitStruct.Mode = GPIO_MODE_IT_RISING;
  GPIO_InitStruct.Pull = GPIO_NOPULL;
  HAL_GPIO_Init(GPIOD, &GPIO_InitStruct);

  /*Configure GPIO pins : USB_OTG_FS_PWR_EN_Pin SPBTLE_RF_SPI3_CSN_Pin PMOD_RESET_Pin STSAFE_A100_RESET_Pin */
  GPIO_InitStruct.Pin = USB_OTG_FS_PWR_EN_Pin|SPBTLE_RF_SPI3_CSN_Pin|PMOD_RESET_Pin|STSAFE_A100_RESET_Pin;
  GPIO_InitStruct.Mode = GPIO_MODE_OUTPUT_PP;
  GPIO_InitStruct.Pull = GPIO_NOPULL;
  GPIO_InitStruct.Speed = GPIO_SPEED_FREQ_LOW;
  HAL_GPIO_Init(GPIOD, &GPIO_InitStruct);

  /*Configure GPIO pins : VL53L0X_XSHUT_Pin LED3_WIFI__LED4_BLE_Pin */
  GPIO_InitStruct.Pin = VL53L0X_XSHUT_Pin|LED3_WIFI__LED4_BLE_Pin;
  GPIO_InitStruct.Mode = GPIO_MODE_OUTPUT_PP;
  GPIO_InitStruct.Pull = GPIO_NOPULL;
  GPIO_InitStruct.Speed = GPIO_SPEED_FREQ_LOW;
  HAL_GPIO_Init(GPIOC, &GPIO_InitStruct);

  /*Configure GPIO pins : VL53L0X_GPIO1_EXTI7_Pin LSM3MDL_DRDY_EXTI8_Pin */
  GPIO_InitStruct.Pin = VL53L0X_GPIO1_EXTI7_Pin|LSM3MDL_DRDY_EXTI8_Pin;
  GPIO_InitStruct.Mode = GPIO_MODE_IT_RISING;
  GPIO_InitStruct.Pull = GPIO_NOPULL;
  HAL_GPIO_Init(GPIOC, &GPIO_InitStruct);

  /*Configure GPIO pins : SPBTLE_RF_RST_Pin ARD_D9_Pin */
  GPIO_InitStruct.Pin = SPBTLE_RF_RST_Pin|ARD_D9_Pin;
  GPIO_InitStruct.Mode = GPIO_MODE_OUTPUT_PP;
  GPIO_InitStruct.Pull = GPIO_NOPULL;
  GPIO_InitStruct.Speed = GPIO_SPEED_FREQ_LOW;
  HAL_GPIO_Init(GPIOA, &GPIO_InitStruct);

  /*Configure GPIO pin : PMOD_SPI2_SCK_Pin */
  GPIO_InitStruct.Pin = PMOD_SPI2_SCK_Pin;
  GPIO_InitStruct.Mode = GPIO_MODE_AF_PP;
  GPIO_InitStruct.Pull = GPIO_NOPULL;
  GPIO_InitStruct.Speed = GPIO_SPEED_FREQ_VERY_HIGH;
  GPIO_InitStruct.Alternate = GPIO_AF5_SPI2;
  HAL_GPIO_Init(PMOD_SPI2_SCK_GPIO_Port, &GPIO_InitStruct);

  /*Configure GPIO pins : PMOD_UART2_CTS_Pin PMOD_UART2_RTS_Pin PMOD_UART2_TX_Pin PMOD_UART2_RX_Pin */
  GPIO_InitStruct.Pin = PMOD_UART2_CTS_Pin|PMOD_UART2_RTS_Pin|PMOD_UART2_TX_Pin|PMOD_UART2_RX_Pin;
  GPIO_InitStruct.Mode = GPIO_MODE_AF_PP;
  GPIO_InitStruct.Pull = GPIO_NOPULL;
  GPIO_InitStruct.Speed = GPIO_SPEED_FREQ_VERY_HIGH;
  GPIO_InitStruct.Alternate = GPIO_AF7_USART2;
  HAL_GPIO_Init(GPIOD, &GPIO_InitStruct);

  /*Configure GPIO pins : ARD_D15_Pin ARD_D14_Pin */
  GPIO_InitStruct.Pin = ARD_D15_Pin|ARD_D14_Pin;
  GPIO_InitStruct.Mode = GPIO_MODE_AF_OD;
  GPIO_InitStruct.Pull = GPIO_NOPULL;
  GPIO_InitStruct.Speed = GPIO_SPEED_FREQ_VERY_HIGH;
  GPIO_InitStruct.Alternate = GPIO_AF4_I2C1;
  HAL_GPIO_Init(GPIOB, &GPIO_InitStruct);

  /* EXTI interrupt init*/
  HAL_NVIC_SetPriority(EXTI9_5_IRQn, 5, 0);
  HAL_NVIC_EnableIRQ(EXTI9_5_IRQn);

  HAL_NVIC_SetPriority(EXTI15_10_IRQn, 5, 0);
  HAL_NVIC_EnableIRQ(EXTI15_10_IRQn);

}

void StartIMUTask(void *argument)
{
  /* USER CODE BEGIN 5 */
	for(;;)
	  {
	    // A. Leer Sensores (Procedimiento simple sin Mutex por ahora)
	    IMU_Update(&hi2c2, &flight_data, 0.01f);
	    Baro_Update(&hi2c2, &baro_data);

	    // B. Calcular correcciones (Setpoints en 0.0 para nivelar)
	    pitch_output = PID_Compute(&pid_pitch, 0.0f, flight_data.pitch, 0.01f);
	    roll_output  = PID_Compute(&pid_roll,  0.0f, flight_data.roll,  0.01f);

	    // C. Enviar a los motores
	    Mixer_Update(throttle_cmd, pitch_output, roll_output, yaw_output);

	    // D. Frecuencia de 100Hz
	    osDelay(10);
	  }
  /* USER CODE END 5 */
}

void StartCmdTask(void *argument)
{
  for(;;)
  {
    osDelay(1);
  }
}

void StartTelemTask(void *argument)
{
  for(;;)
  {
    osDelay(1);
  }
}

void StartBaroTask(void *argument)
{
  for(;;)
  {
    osDelay(1);
  }
}

void HAL_TIM_PeriodElapsedCallback(TIM_HandleTypeDef *htim)
{
  if (htim->Instance == TIM6) {
    HAL_IncTick();
  }
}

void Error_Handler(void)
{
  __disable_irq();
  while (1)
  {
  }
}
